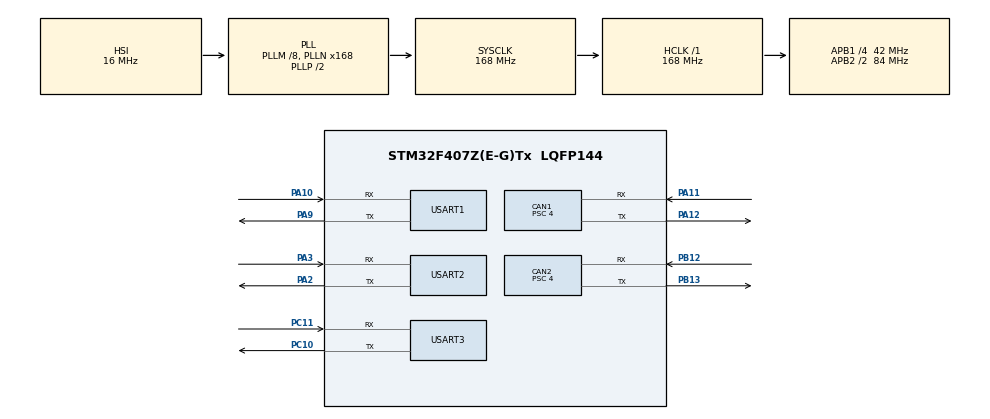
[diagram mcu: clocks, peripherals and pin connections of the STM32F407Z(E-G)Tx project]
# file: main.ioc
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CAN1.ABOM=ENABLE
CAN1.AWUM=ENABLE
CAN1.BS1=CAN_BS1_12TQ
CAN1.BS2=CAN_BS2_8TQ
CAN1.CalculateBaudRate=500000
CAN1.CalculateTimeBit=2000
CAN1.CalculateTimeQuantum=95.23809523809524
CAN1.Mode=CAN_MODE_NORMAL
CAN1.NART=ENABLE
CAN1.Prescaler=4
CAN2.ABOM=ENABLE
CAN2.AWUM=ENABLE
CAN2.BS1=CAN_BS1_12TQ
CAN2.BS2=CAN_BS2_8TQ
CAN2.CalculateBaudRate=500000
CAN2.CalculateTimeBit=2000
CAN2.CalculateTimeQuantum=95.23809523809524
CAN2.NART=ENABLE
CAN2.Prescaler=4
Mcu.Family=STM32F4
Mcu.Name=STM32F407Z(E-G)Tx
Mcu.Package=LQFP144
NVIC.CAN1_RX0_IRQn=true\:0\:0\:false\:false\:true\:true\:true\:true
NVIC.CAN1_RX1_IRQn=true\:0\:0\:false\:false\:true\:true\:true\:true
NVIC.CAN1_TX_IRQn=true\:0\:0\:false\:false\:true\:true\:true\:true
NVIC.CAN2_RX0_IRQn=true\:0\:0\:false\:false\:true\:true\:true\:true
NVIC.CAN2_RX1_IRQn=true\:0\:0\:false\:false\:true\:true\:true\:true
NVIC.CAN2_TX_IRQn=true\:0\:0\:false\:false\:true\:true\:true\:true
NVIC.PriorityGroup=NVIC_PRIORITYGROUP_2
NVIC.TIM2_IRQn=true\:0\:0\:false\:false\:true\:true\:true\:true
NVIC.TIM3_IRQn=true\:0\:0\:false\:false\:true\:true\:true\:true
NVIC.USART1_IRQn=true\:0\:0\:false\:false\:true\:true\:true\:true
NVIC.USART2_IRQn=true\:0\:0\:false\:false\:true\:true\:true\:true
NVIC.USART3_IRQn=true\:0\:0\:false\:false\:true\:true\:true\:true
PA10.Mode=Asynchronous
PA10.Signal=USART1_RX
PA11.Mode=CAN_Activate
PA11.Signal=CAN1_RX
PA12.Mode=CAN_Activate
PA12.Signal=CAN1_TX
PA2.Mode=Asynchronous
PA2.Signal=USART2_TX
PA3.Mode=Asynchronous
PA3.Signal=USART2_RX
PA9.Mode=Asynchronous
PA9.Signal=USART1_TX
PB12.Mode=CAN_Activate
PB12.Signal=CAN2_RX
PB13.Mode=CAN_Activate
PB13.Signal=CAN2_TX
PC10.Mode=Asynchronous
PC10.Signal=USART3_TX
PC11.Mode=Asynchronous
PC11.Signal=USART3_RX
PH0-OSC_IN.Mode=HSE-External-Oscillator
PH0-OSC_IN.Signal=RCC_OSC_IN
PH1-OSC_OUT.Mode=HSE-External-Oscillator
PH1-OSC_OUT.Signal=RCC_OSC_OUT
ProjectManager.HeapSize=0x200
ProjectManager.StackSize=0x400
ProjectManager.TargetToolchain=MDK-ARM V5.32
RCC.48MHZClocksFreq_Value=84000000
RCC.AHBFreq_Value=168000000
RCC.APB1CLKDivider=RCC_HCLK_DIV4
RCC.APB1Freq_Value=42000000
RCC.APB1TimFreq_Value=84000000
RCC.APB2CLKDivider=RCC_HCLK_DIV2
RCC.APB2Freq_Value=84000000
RCC.APB2TimFreq_Value=168000000
RCC.CortexFreq_Value=168000000
RCC.HCLKFreq_Value=168000000
RCC.HSE_VALUE=25000000
RCC.HSI_VALUE=16000000
RCC.LSE_VALUE=32768
RCC.PLLM=8
RCC.PLLN=168
RCC.SYSCLKFreq_VALUE=168000000
RCC.SYSCLKSource=RCC_SYSCLKSOURCE_PLLCLK
RCC.VCOOutputFreq_Value=336000000
TIM2.AutoReloadPreload=TIM_AUTORELOAD_PRELOAD_ENABLE
TIM2.Period=4999
TIM2.Prescaler=8399
TIM3.AutoReloadPreload=TIM_AUTORELOAD_PRELOAD_ENABLE
TIM3.Period=4999
TIM3.Prescaler=8399
USART1.VirtualMode=VM_ASYNC
USART2.VirtualMode=VM_ASYNC
USART3.VirtualMode=VM_ASYNC
VP_TIM2_VS_ClockSourceINT.Mode=Internal
VP_TIM3_VS_ClockSourceINT.Mode=Internal
board=custom

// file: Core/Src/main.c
/* USER CODE BEGIN Header */
/**
  ******************************************************************************
  * @file           : main.c
  * @brief          : Main program body
  ******************************************************************************
  * @attention
  *
  * Copyright (c) 2023 STMicroelectronics.
  * All rights reserved.
  *
  * This software is licensed under terms that can be found in the LICENSE file
  * in the root directory of this software component.
  * If no LICENSE file comes with this software, it is provided AS-IS.
  *
  ******************************************************************************
  */
/* USER CODE END Header */
#include "main.h"
#include "can.h"
#include "tim.h"
#include "usart.h"
#include "gpio.h"

/* USER CODE BEGIN Includes */
#include"stm32f4xx_hal.h"
#define RXBUFFERSIZE 256
//Private includes 256;
char RxBuffer[RXBUFFERSIZE];
uint8_t aRxBuffer;
uint8_t Uart1_Rx_Cnt=0;
#include<string.h>
#include "stm32f4xx_hal_can.h"
/* USER CODE END Includes */

void SystemClock_Config(void);

int main(void)
{

  /* MCU Configuration--------------------------------------------------------*/

  /* Reset of all peripherals, Initializes the Flash interface and the Systick. */
  HAL_Init();

  /* Configure the system clock */
  SystemClock_Config();

  /* Initialize all configured peripherals */
  MX_GPIO_Init();
  MX_CAN1_Init();
  MX_CAN2_Init();
  MX_TIM2_Init();
  MX_TIM3_Init();
  MX_USART1_UART_Init();
  MX_USART2_UART_Init();
  MX_USART3_UART_Init();
  /* USER CODE BEGIN 2 */
HAL_TIM_Base_Start_IT(&htim2);
CAN_Filter_Config();

  /* USER CODE END 2 */

  /* Infinite loop */
  while (1)
  {

  }
}

void SystemClock_Config(void)
{
  RCC_OscInitTypeDef RCC_OscInitStruct = {0};
  RCC_ClkInitTypeDef RCC_ClkInitStruct = {0};

  /** Configure the main internal regulator output voltage
  */
  __HAL_RCC_PWR_CLK_ENABLE();
  __HAL_PWR_VOLTAGESCALING_CONFIG(PWR_REGULATOR_VOLTAGE_SCALE1);

  /** Initializes the RCC Oscillators according to the specified parameters
  * in the RCC_OscInitTypeDef structure.
  */
  RCC_OscInitStruct.OscillatorType = RCC_OSCILLATORTYPE_HSI;
  RCC_OscInitStruct.HSIState = RCC_HSI_ON;
  RCC_OscInitStruct.HSICalibrationValue = RCC_HSICALIBRATION_DEFAULT;
  RCC_OscInitStruct.PLL.PLLState = RCC_PLL_ON;
  RCC_OscInitStruct.PLL.PLLSource = RCC_PLLSOURCE_HSI;
  RCC_OscInitStruct.PLL.PLLM = 8;
  RCC_OscInitStruct.PLL.PLLN = 168;
  RCC_OscInitStruct.PLL.PLLP = RCC_PLLP_DIV2;
  RCC_OscInitStruct.PLL.PLLQ = 4;
  if (HAL_RCC_OscConfig(&RCC_OscInitStruct) != HAL_OK)
  {
    Error_Handler();
  }

  /** Initializes the CPU, AHB and APB buses clocks
  */
  RCC_ClkInitStruct.ClockType = RCC_CLOCKTYPE_HCLK|RCC_CLOCKTYPE_SYSCLK
                              |RCC_CLOCKTYPE_PCLK1|RCC_CLOCKTYPE_PCLK2;
  RCC_ClkInitStruct.SYSCLKSource = RCC_SYSCLKSOURCE_PLLCLK;
  RCC_ClkInitStruct.AHBCLKDivider = RCC_SYSCLK_DIV1;
  RCC_ClkInitStruct.APB1CLKDivider = RCC_HCLK_DIV4;
  RCC_ClkInitStruct.APB2CLKDivider = RCC_HCLK_DIV2;

  if (HAL_RCC_ClockConfig(&RCC_ClkInitStruct, FLASH_LATENCY_5) != HAL_OK)
  {
    Error_Handler();
  }
}

/* USER CODE BEGIN 4 */
void HAL_TIM_PeriodElapsedCallback(TIM_HandleTypeDef *htim)
{
CAN1_send();

}
CAN_RxHeaderTypeDef Can_HandleRxMsg;
uint8_t rxbuf[15];
void HAL_CAN_RxFifo0MsgPendingCallback(CAN_HandleTypeDef *hcan)
{
Can_HandleRxMsg.DLC=15;
Can_HandleRxMsg.StdId=0x601;
Can_HandleRxMsg.IDE=CAN_ID_STD;
Can_HandleRxMsg.RTR=CAN_RTR_DATA;
HAL_CAN_GetRxMessage(&hcan1,CAN_RX_FIFO0,&Can_HandleRxMsg,rxbuf);
    printf("id:%d\r\n",Can_HandleRxMsg.StdId);
    printf("ide:%d\r\n",Can_HandleRxMsg.IDE);
    printf("rtr:%d\r\n",Can_HandleRxMsg.RTR);
    printf("len:%d\r\n",Can_HandleRxMsg.DLC);
    printf("rxbuf[0]:%d\r\n",rxbuf[0]);
    printf("rxbuf[1]:%d\r\n",rxbuf[1]);
    printf("rxbuf[2]:%d\r\n",rxbuf[2]);
    printf("rxbuf[3]:%d\r\n",rxbuf[3]);
    printf("rxbuf[4]:%d\r\n",rxbuf[4]);
    printf("rxbuf[5]:%d\r\n",rxbuf[5]);
    printf("rxbuf[6]:%d\r\n",rxbuf[6]);
    printf("rxbuf[7]:%d\r\n",rxbuf[7]);
}
void HAL_UART_RxCpltCallback(UART_HandleTypeDef *huart)
{
UNUSED(huart);
	if(Uart1_Rx_Cnt>=255)
	{
Uart1_Rx_Cnt=0;
		memset(RxBuffer,0x00,sizeof(RxBuffer));
		HAL_UART_Transmit(&huart1,(uint8_t *)"数据溢出",10,0xFFFF);
}
else
{
RxBuffer[Uart1_Rx_Cnt++]=aRxBuffer;
	if((RxBuffer[Uart1_Rx_Cnt-1]==0x0A)&&(RxBuffer[Uart1_Rx_Cnt-2]==0x0D))
	{
		HAL_UART_Transmit(&huart1,(uint8_t *)&RxBuffer,Uart1_Rx_Cnt,0xFFFF);
		while(HAL_UART_GetState(&huart1)==HAL_UART_STATE_BUSY_TX);
		Uart1_Rx_Cnt=0;
		memset(RxBuffer,0x00,sizeof(RxBuffer));
	}
}
HAL_UART_Receive_IT(&huart1,(uint8_t *)&aRxBuffer,1);
}
/* USER CODE END 4 */

void Error_Handler(void)
{
  __disable_irq();
  while (1)
  {
  }
}
